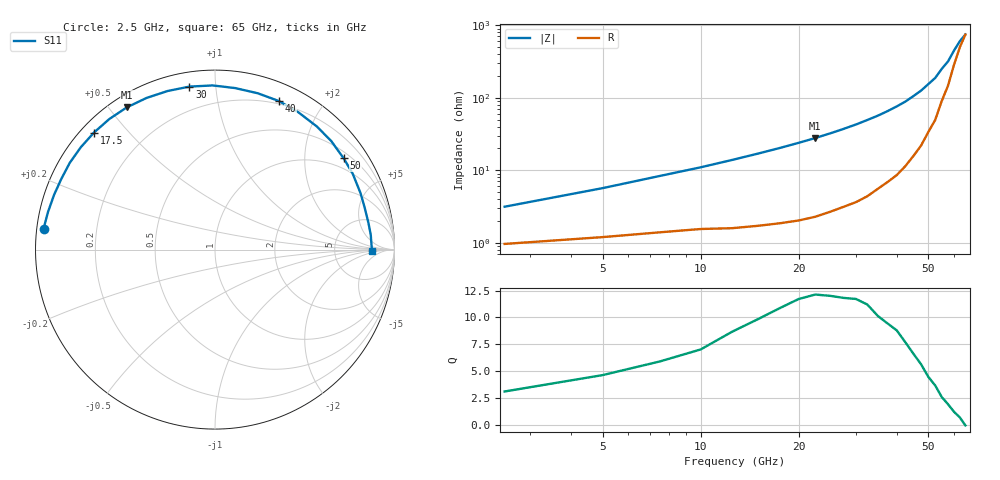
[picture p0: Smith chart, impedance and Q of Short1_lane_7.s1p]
! File created by SignalIntegrity v1.5.1: Signal and Power Integrity Tools
! https://github.com/Nubis-Communications/SignalIntegrity
# MHz S MA R 50.0
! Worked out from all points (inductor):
!   26 points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, 2.5 GHz to 65 GHz, reference 50 ohm
!   read as one part to ground: L = 175 pH near 2.5 GHz
!   highest Q = 12 at 22.5 GHz (marker M1), where L = 196 pH
!   self-resonance near 64.69 GHz
!   S11 on the Smith chart (normalised r, x): 2.5 GHz: 0.02, +0.06; 17.5 GHz: 0.04, +0.40; 30 GHz: 0.07, +0.85; 40 GHz: 0.17, +1.51; 50 GHz: 0.67, +3.00; 65 GHz: 15, -1
2500  0.9623 173.2
5000  0.9538 167.3
7500  0.9471 161.3
10000  0.9426 155.5
12500  0.9426 149.1
15000  0.9403 142.7
17500  0.9381 136.0
20000  0.9359 129.0
22500  0.9325 121.9
25000  0.9271 114.4
27500  0.9223 106.7
30000  0.9193 98.9
32500  0.9147 90.8
35000  0.9069 82.9
37500  0.903 74.7
40000  0.9011 66.6
42500  0.895 58.8
45000  0.8902 50.5
47500  0.8863 43.1
50000  0.8789 35.3
52500  0.8763 29.0
55000  0.8696 21.2
57500  0.8661 16.0
60000  0.8677 9.8
62500  0.8717 5.4
65000  0.8745 -0.5
